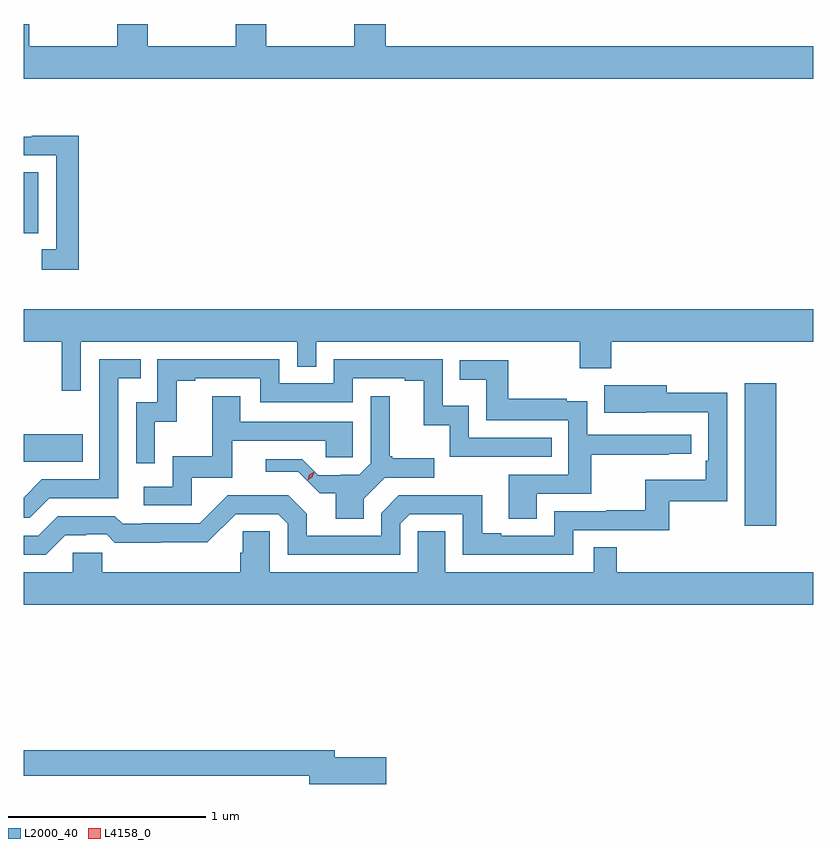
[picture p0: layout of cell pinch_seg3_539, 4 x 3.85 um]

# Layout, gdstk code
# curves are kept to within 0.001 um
import gdstk
lib = gdstk.Library(unit=1e-6, precision=1e-09)
def R(c, l, rs):  # rectangles x0, y0, x1, y1
    for r in rs: c.add(gdstk.rectangle(r[:2], r[2:], *l))
def P(c, l, *ps):  # polygons
    for p in ps: c.add(gdstk.Polygon(p, *l))
L2000_40 = (2000, 40)
L4158_0 = (4158, 0)

pinch_seg3_539 = lib.new_cell('pinch_seg3_539')
R(pinch_seg3_539, L2000_40, [(1132.805,698.652,1132.966,699.373), (1129.153,698.975,1129.451,699.115), (1129.153,700.134,1129.228,700.441)])
P(pinch_seg3_539, L2000_40, [(1133.153,701.08),(1130.987,701.08),(1130.987,701.193),(1130.827,701.193),(1130.827,701.08),(1130.382,701.08),(1130.382,701.193),(1130.227,701.193),(1130.227,701.08),(1129.782,701.08),(1129.782,701.193),(1129.627,701.193),(1129.627,701.08),(1129.182,701.08),(1129.182,701.193),(1129.153,701.193),(1129.153,700.916),(1133.153,700.916)],
  [(1129.433,700.628),(1129.195,700.628),(1129.195,700.623),(1129.153,700.623),(1129.153,700.527),(1129.317,700.527),(1129.317,700.053),(1129.245,700.053),(1129.245,699.948),(1129.433,699.948)],
  [(1129.443,699.584),(1130.538,699.584),(1130.538,699.457),(1130.634,699.457),(1130.634,699.584),(1131.97,699.584),(1131.97,699.449),(1132.13,699.449),(1132.13,699.584),(1133.153,699.584),(1133.153,699.748),(1129.153,699.748),(1129.153,699.584),(1129.346,699.584),(1129.346,699.336),(1129.443,699.336)],
  [(1129.818,699.179),(1129.928,699.179),(1129.928,699.387),(1130.023,699.387),(1130.023,699.399),(1130.352,699.399),(1130.352,699.276),(1130.82,699.276),(1130.82,699.399),(1131.083,699.399),(1131.083,699.387),(1131.179,699.387),(1131.179,699.161),(1131.312,699.161),(1131.312,699),(1131.827,699),(1131.827,699.096),(1131.408,699.096),(1131.408,699.259),(1131.276,699.259),(1131.276,699.495),(1130.724,699.495),(1130.724,699.372),(1130.448,699.372),(1130.448,699.495),(1129.83,699.495),(1129.83,699.276),(1129.722,699.276),(1129.722,698.967),(1129.818,698.967)],
  [(1129.282,698.79),(1129.632,698.79),(1129.632,699.399),(1129.745,699.399),(1129.745,699.495),(1129.536,699.495),(1129.536,698.886),(1129.245,698.886),(1129.153,698.794),(1129.153,698.691),(1129.183,698.691)],
  [(1131.751,698.814),(1132.028,698.814),(1132.028,699.01),(1132.421,699.01),(1132.421,699.015),(1132.534,699.015),(1132.534,699.111),(1132.008,699.111),(1132.008,699.283),(1131.905,699.283),(1131.905,699.295),(1131.607,699.295),(1131.607,699.489),(1131.361,699.489),(1131.361,699.392),(1131.496,699.392),(1131.496,699.186),(1131.912,699.186),(1131.912,698.91),(1131.611,698.91),(1131.611,698.686),(1131.751,698.686)],
  [(1129.363,698.604),(1129.47,698.604),(1129.47,698.607),(1129.573,698.607),(1129.615,698.565),(1129.848,698.565),(1129.848,698.567),(1130.084,698.567),(1130.226,698.709),(1130.442,698.709),(1130.49,698.661),(1130.49,698.505),(1131.06,698.505),(1131.06,698.661),(1131.108,698.709),(1131.378,698.709),(1131.378,698.505),(1131.936,698.505),(1131.936,698.628),(1132.423,698.628),(1132.423,698.775),(1132.716,698.775),(1132.716,699.326),(1132.411,699.326),(1132.411,699.364),(1132.093,699.364),(1132.093,699.224),(1132.62,699.225),(1132.62,698.98),(1132.607,698.98),(1132.607,698.884),(1132.302,698.884),(1132.302,698.729),(1132.105,698.729),(1132.105,698.724),(1131.84,698.724),(1131.84,698.601),(1131.571,698.601),(1131.571,698.614),(1131.475,698.614),(1131.475,698.807),(1131.27,698.807),(1131.27,698.805),(1131.054,698.805),(1130.964,698.715),(1130.964,698.601),(1130.587,698.601),(1130.587,698.711),(1130.492,698.806),(1130.187,698.805),(1130.046,698.664),(1129.753,698.664),(1129.753,698.661),(1129.654,698.661),(1129.615,698.7),(1129.326,698.7),(1129.227,698.601),(1129.153,698.601),(1129.153,698.505),(1129.264,698.505)],
  [(1130.875,698.788),(1130.982,698.895),(1131.232,698.895),(1131.232,698.992),(1131.019,698.992),(1131.019,699.004),(1131.007,699.004),(1131.007,699.307),(1130.91,699.307),(1130.91,698.967),(1130.853,698.91),(1130.759,698.91),(1130.759,698.907),(1130.646,698.907),(1130.565,698.988),(1130.379,698.988),(1130.379,698.924),(1130.543,698.924),(1130.652,698.816),(1130.735,698.816),(1130.735,698.686),(1130.875,698.686)],
  [(1130.004,698.895),(1130.209,698.895),(1130.209,699.081),(1130.682,699.081),(1130.682,698.998),(1130.82,698.998),(1130.82,699.177),(1130.251,699.177),(1130.251,699.307),(1130.107,699.307),(1130.107,699.004),(1129.908,699.004),(1129.908,698.85),(1129.761,698.85),(1129.761,698.754),(1130.004,698.754)],
  [(1133.153,698.416),(1132.157,698.416),(1132.157,698.543),(1132.041,698.543),(1132.041,698.416),(1131.289,698.416),(1131.289,698.624),(1131.15,698.624),(1131.15,698.416),(1130.4,698.416),(1130.4,698.624),(1130.263,698.624),(1130.263,698.514),(1130.249,698.514),(1130.249,698.416),(1129.551,698.416),(1129.551,698.514),(1129.401,698.514),(1129.401,698.416),(1129.153,698.416),(1129.153,698.252),(1133.153,698.252)],
  [(1130.989,697.478),(1130.728,697.478),(1130.728,697.514),(1129.153,697.514),(1129.153,697.386),(1130.6,697.386),(1130.6,697.343),(1130.989,697.343)])
P(pinch_seg3_539, L4158_0, [(1130.592,698.882),(1130.592,698.882),(1130.6,698.91),(1130.624,698.926),(1130.624,698.926),(1130.624,698.926),(1130.616,698.898),(1130.592,698.882)])

lib.write_gds('pinch_seg3_539.gds')
